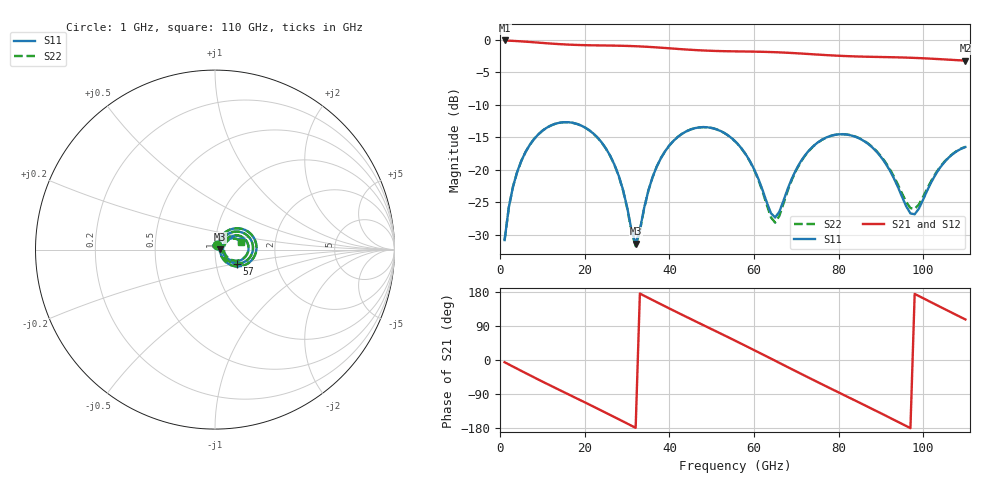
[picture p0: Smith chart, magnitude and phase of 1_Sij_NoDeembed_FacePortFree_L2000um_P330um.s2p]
! Touchstone file exported from HFSS 2024.2.0
!  File:  C:/Users/vaintrug/Documents/Ansoft_Workspace/Comparaison_Calculs_HFSS/1_VarPort.aedt
!  Generated:  03:22:19 PM Jan 21, 2025
!  Design:  1_NoDeembed_FacePortFree
!  Project:  1_VarPort
!  Setup:  Setup1
!  Solution:  Sweep
! Variables:
!  $Lenght = 2000um
!  $PortSize = 330um
!  Gap = 30um
!  Th = 2um
!  X_centralStrip = 20um
!  X_masse = 200um
!  Y_Sub = 2mm
!  Z_Box = 400um
!  Z_Sub = 200um
# GHz S MA R 50.000000
! Terminal data exported
! Port[1] = 1
! Port[2] = 2
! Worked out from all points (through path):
!   110 points, 1 GHz to 110 GHz, reference 50 ohm
!   highest |S21| = -0.13 dB at 1 GHz (marker M1); lowest = -3.2 dB at 110 GHz (marker M2)
!   group delay of S21, straight-line fit = 15.4 ps
!   lowest |S11| = -31.4 dB at 32 GHz (marker M3), VSWR 1.06, Z = 52.8 + j0.116 ohm
!   |S11| at or under -10 dB: start of sweep to end of sweep
!   |S22| runs from -31.8 to -12.7 dB; largest |S21 - S12| = 2e-15
!   S11 on the Smith chart (normalised r, x): 1 GHz: 1.03, +0.05; 57 GHz: 1.26, -0.20; 110 GHz: 1.33, +0.12
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1  0.0287 62.1  0.9854 -5.9  0.9854 -5.9  0.0287 62.0
! Gamma 5.86091311190463 49.8289302865509 5.92214038114135 50.1361037491142
! Port Impedance 50 0 50 0
3  0.07425 65.9  0.978 -17.5  0.978 -17.5  0.07425 65.9
7  0.1559 48.7  0.959 -40.4  0.959 -40.4  0.1559 48.6
13  0.2254 17.9  0.9276 -73.8  0.9276 -73.8  0.2253 17.8
20  0.2112 -17.0  0.9066 -111.9  0.9066 -111.9  0.211 -17.3
27  0.1088 -46.6  0.8991 -150.7  0.8991 -150.7  0.1084 -47.2
32  0.02691 2.3  0.8896 -179.1  0.8896 -179.1  0.02578 2.7
35  0.06891 53.6  0.8795 163.9  0.8795 163.9  0.06869 54.4
38  0.123 48.4  0.8667 147.0  0.8667 147.0  0.123 48.7
43  0.1889 27.8  0.8436 119.3  0.8436 119.3  0.189 27.8
47  0.2113 9.7  0.8283 97.5  0.8283 97.5  0.2114 9.6
51  0.2048 -8.2  0.8181 75.8  0.8181 75.8  0.2048 -8.5
56  0.1595 -28.7  0.8118 48.5  0.8118 48.5  0.1591 -29.4
57  0.1462 -32.1  0.811 42.9  0.811 42.9  0.1458 -33.0
65  0.04282 3.1  0.8004 -2.0  0.8004 -2.0  0.03911 3.3
70  0.1007 40.7  0.7858 -30.2  0.7858 -30.2  0.09918 43.1
74  0.1514 30.2  0.7712 -52.5  0.7712 -52.5  0.1507 32.0
83  0.1832 -5.9  0.7446 -101.9  0.7446 -101.9  0.1838 -4.3
92  0.1001 -34.7  0.7328 -151.7  0.7328 -151.7  0.1024 -32.3
98  0.04535 7.7  0.7234 174.4  0.7234 174.4  0.04984 6.5
104  0.1035 35.8  0.7075 140.5  0.7075 140.5  0.1047 33.7
110  0.1493 17.6  0.6894 107.0  0.6894 107.0  0.1497 16.5
